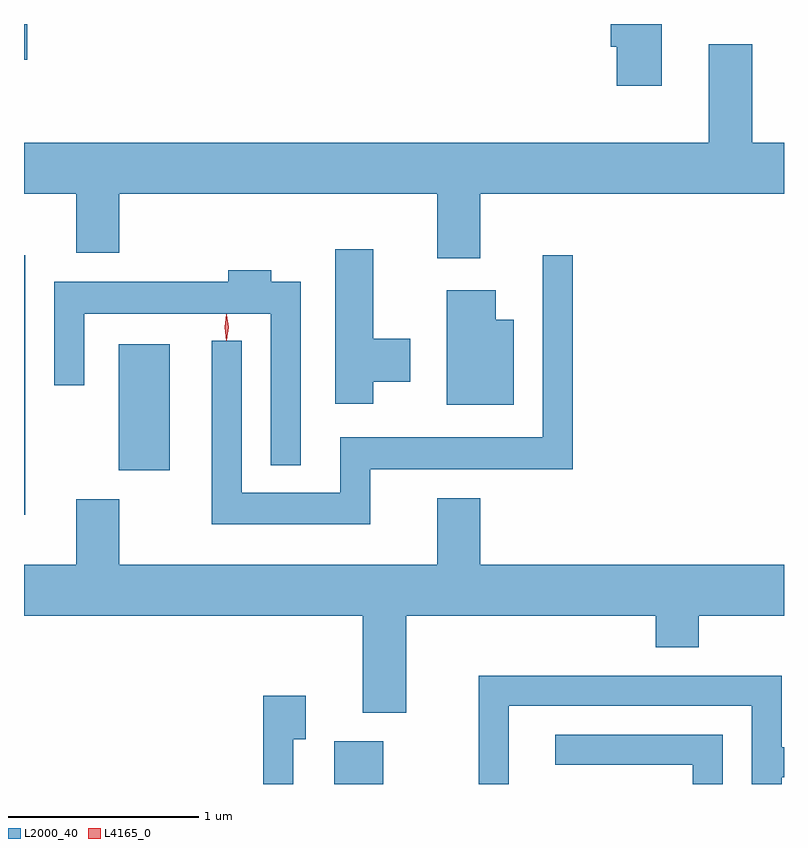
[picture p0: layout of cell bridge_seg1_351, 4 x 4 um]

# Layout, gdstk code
import gdstk
lib = gdstk.Library(unit=1e-6, precision=1e-09)
def R(c, l, rs):  # rectangles x0, y0, x1, y1
    for r in rs: c.add(gdstk.rectangle(r[:2], r[2:], *l))
def P(c, l, *ps):  # polygons
    for p in ps: c.add(gdstk.Polygon(p, *l))
L2000_40 = (2000, 40)
L4165_0 = (4165, 0)

bridge_seg1_351 = lib.new_cell('bridge_seg1_351')
R(bridge_seg1_351, L2000_40, [(943.081,883.15,943.339,883.374), (941.447,884.566,941.454,885.933), (941.946,884.801,942.214,885.464), (941.447,886.961,941.464,887.15)])
P(bridge_seg1_351, L2000_40, [(944.804,887.15),(944.536,887.15),(944.536,887.031),(944.566,887.031),(944.566,886.826),(944.804,886.826)],
  [(943.849,886.256),(945.447,886.256),(945.447,886.524),(945.279,886.524),(945.279,887.044),(945.051,887.044),(945.051,886.524),(941.447,886.524),(941.447,886.256),(941.721,886.256),(941.721,885.946),(941.949,885.946),(941.949,886.256),(943.621,886.256),(943.621,885.916),(943.849,885.916)],
  [(943.284,885.266),(943.479,885.266),(943.479,885.494),(943.284,885.494),(943.284,885.964),(943.086,885.964),(943.086,885.151),(943.284,885.151)],
  [(943.269,884.806),(944.334,884.806),(944.334,885.933),(944.176,885.933),(944.176,884.974),(943.111,884.974),(943.111,884.684),(942.594,884.684),(942.594,885.483),(942.436,885.483),(942.436,884.516),(943.269,884.516)],
  [(942.904,885.794),(942.749,885.794),(942.749,885.854),(942.521,885.854),(942.521,885.794),(941.606,885.794),(941.606,885.248),(941.764,885.248),(941.764,885.626),(942.746,885.626),(942.746,884.828),(942.904,884.828)],
  [(944.024,885.594),(943.929,885.594),(943.929,885.749),(943.671,885.749),(943.671,885.146),(944.024,885.146)],
  [(943.459,884.036),(944.771,884.036),(944.771,883.871),(944.999,883.871),(944.999,884.036),(945.447,884.036),(945.447,884.304),(943.849,884.304),(943.849,884.654),(943.621,884.654),(943.621,884.304),(941.949,884.304),(941.949,884.649),(941.721,884.649),(941.721,884.304),(941.447,884.304),(941.447,884.036),(943.231,884.036),(943.231,883.526),(943.459,883.526)],
  [(943.999,883.561),(945.276,883.561),(945.276,883.15),(945.434,883.15),(945.434,883.186),(945.447,883.186),(945.447,883.344),(945.434,883.344),(945.434,883.719),(943.841,883.719),(943.841,883.15),(943.999,883.15)],
  [(942.864,883.386),(942.929,883.386),(942.929,883.614),(942.706,883.614),(942.706,883.15),(942.864,883.15)],
  [(945.124,883.409),(944.243,883.409),(944.243,883.251),(944.966,883.251),(944.966,883.15),(945.124,883.15)])
P(bridge_seg1_351, L4165_0, [(942.515,885.487),(942.514,885.488),(942.505,885.554),(942.514,885.62),(942.514,885.62),(942.515,885.62),(942.524,885.554),(942.515,885.488)],
  [(942.512,885.484),(942.503,885.553),(942.512,885.622),(942.513,885.623),(942.513,885.622),(942.523,885.553),(942.513,885.484),(942.513,885.484)])

lib.write_gds('bridge_seg1_351.gds')
